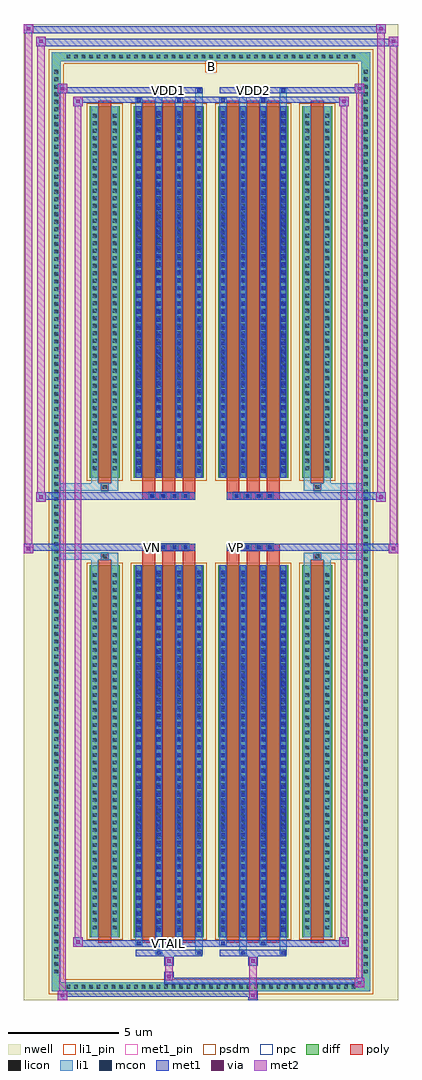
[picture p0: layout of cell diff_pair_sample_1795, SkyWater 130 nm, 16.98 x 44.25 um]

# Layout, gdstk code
import gdstk
lib = gdstk.Library(unit=1e-6, precision=5e-09)
def R(c, l, rs):  # rectangles x0, y0, x1, y1
    for r in rs: c.add(gdstk.rectangle(r[:2], r[2:], *l))
def A(c, l, x, y, w, h, nx, ny, dx, dy):  # array of equal rectangles
    R(c, l, [(x+i*dx, y+j*dy, x+i*dx+w, y+j*dy+h) for i in range(nx) for j in range(ny)])
def P(c, l, *ps):  # polygons
    for p in ps: c.add(gdstk.Polygon(p, *l))
nwell = (64, 20)
diff = (65, 20)
poly = (66, 20)
licon = (66, 44)
li1_pin = (67, 16)
li1 = (67, 20)
mcon = (67, 44)
met1_pin = (68, 16)
met1 = (68, 20)
via = (68, 44)
met2 = (69, 20)
psdm = (94, 20)
npc = (95, 20)

diff_pair_sample_1795 = lib.new_cell('diff_pair_sample_1795')
R(diff_pair_sample_1795, nwell, [(-8.49,-21.69,8.49,22.56), (-5.81,-19.88,-0.01,-0.8), (0.01,-19.88,5.81,-0.8), (-5.81,0.8,-0.01,19.88), (0.01,0.8,5.81,19.88)])
A(diff_pair_sample_1795, diff, -6.665, -21.29, 0.41, 0.41, 39, 2, 0.34, 42.17)
A(diff_pair_sample_1795, diff, -7.22, -20.605, 0.41, 0.41, 1, 121, 0, 0.34)
A(diff_pair_sample_1795, diff, 6.81, -20.605, 0.41, 0.41, 1, 121, 0, 0.34)
R(diff_pair_sample_1795, diff, [(-6.665,-21.29,6.665,-20.88), (-7.22,-20.605,-6.81,20.605), (6.81,-20.605,7.22,20.605), (-5.5,-18.835,-4.14,-1.985), (-3.5,-18.835,-0.32,-1.985), (0.32,-18.835,3.5,-1.985), (4.14,-18.835,5.5,-1.985), (-5.5,1.985,-4.14,18.835), (-3.5,1.985,-0.32,18.835), (0.32,1.985,3.5,18.835), (4.14,1.985,5.5,18.835), (-6.665,20.88,6.665,21.29)])
P(diff_pair_sample_1795, diff, [(7.22,21.29),(-7.22,21.29),(-7.22,-20.88),(-6.81,-20.88),(-6.81,20.88),(6.81,20.88),(6.81,-20.88),(-6.81,-20.88),(-7.22,-20.88),(-7.22,-21.29),(7.22,-21.29)])
A(diff_pair_sample_1795, poly, -3.11, -19.085, 0.58, 17.35, 3, 2, 0.91, 20.82)
A(diff_pair_sample_1795, poly, 0.71, -19.085, 0.58, 17.35, 3, 2, 0.91, 20.82)
A(diff_pair_sample_1795, poly, -3.11, -1.735, 0.58, 0.405, 3, 2, 0.91, 3.065)
A(diff_pair_sample_1795, poly, 0.71, -1.735, 0.58, 0.405, 3, 2, 0.91, 3.065)
A(diff_pair_sample_1795, poly, -2.825, -1.33, 0.33, 0.33, 4, 2, 0.5, 2.33)
A(diff_pair_sample_1795, poly, 0.995, -1.33, 0.33, 0.33, 4, 2, 0.5, 2.33)
R(diff_pair_sample_1795, poly, [(-5.11,-19.085,-4.53,-1.735), (4.53,-19.085,5.11,-1.735), (-4.985,-1.735,-4.655,-1.405), (-4.985,-1.735,-4.655,-1.405), (4.655,-1.735,4.985,-1.405), (4.655,-1.735,4.985,-1.405), (-3.11,-1.33,-0.71,-1), (0.71,-1.33,3.11,-1), (-3.11,1,-0.71,1.33), (0.71,1,3.11,1.33), (-4.985,1.405,-4.655,1.735), (-4.985,1.405,-4.655,1.735), (4.655,1.405,4.985,1.735), (4.655,1.405,4.985,1.735), (-5.11,1.735,-4.53,19.085), (4.53,1.735,5.11,19.085)])
A(diff_pair_sample_1795, licon, -6.545, -21.17, 0.17, 0.17, 39, 2, 0.34, 42.17)
A(diff_pair_sample_1795, licon, -7.1, -20.485, 0.17, 0.17, 1, 121, 0, 0.34)
A(diff_pair_sample_1795, licon, 6.93, -20.485, 0.17, 0.17, 1, 121, 0, 0.34)
A(diff_pair_sample_1795, licon, -5.36, -18.485, 0.17, 0.17, 1, 48, 0, 0.34)
A(diff_pair_sample_1795, licon, -4.45, -18.485, 0.17, 0.17, 1, 48, 0, 0.34)
A(diff_pair_sample_1795, licon, -3.36, -18.485, 0.17, 0.17, 4, 48, 0.91, 0.34)
A(diff_pair_sample_1795, licon, 0.46, -18.485, 0.17, 0.17, 4, 48, 0.91, 0.34)
A(diff_pair_sample_1795, licon, 4.28, -18.485, 0.17, 0.17, 1, 48, 0, 0.34)
A(diff_pair_sample_1795, licon, 5.19, -18.485, 0.17, 0.17, 1, 48, 0, 0.34)
A(diff_pair_sample_1795, licon, -2.745, -1.25, 0.17, 0.17, 4, 2, 0.5, 2.33)
A(diff_pair_sample_1795, licon, 1.075, -1.25, 0.17, 0.17, 4, 2, 0.5, 2.33)
A(diff_pair_sample_1795, licon, -5.36, 2.335, 0.17, 0.17, 1, 48, 0, 0.34)
A(diff_pair_sample_1795, licon, -4.45, 2.335, 0.17, 0.17, 1, 48, 0, 0.34)
A(diff_pair_sample_1795, licon, -3.36, 2.335, 0.17, 0.17, 4, 48, 0.91, 0.34)
A(diff_pair_sample_1795, licon, 0.46, 2.335, 0.17, 0.17, 4, 48, 0.91, 0.34)
A(diff_pair_sample_1795, licon, 4.28, 2.335, 0.17, 0.17, 1, 48, 0, 0.34)
A(diff_pair_sample_1795, licon, 5.19, 2.335, 0.17, 0.17, 1, 48, 0, 0.34)
R(diff_pair_sample_1795, licon, [(-4.905,-1.655,-4.735,-1.485), (4.735,-1.655,4.905,-1.485), (-4.905,1.485,-4.735,1.655), (4.735,1.485,4.905,1.655)])
R(diff_pair_sample_1795, li1_pin, [(-0.25,20.38,0.25,20.88)])
A(diff_pair_sample_1795, li1, -6.625, -21.25, 0.33, 0.33, 39, 2, 0.34, 42.17)
A(diff_pair_sample_1795, li1, -7.18, -20.565, 0.33, 0.33, 1, 121, 0, 0.34)
A(diff_pair_sample_1795, li1, 6.85, -20.565, 0.33, 0.33, 1, 121, 0, 0.34)
A(diff_pair_sample_1795, li1, -3.44, -18.835, 0.33, 16.85, 4, 2, 0.91, 20.82)
A(diff_pair_sample_1795, li1, 0.38, -18.835, 0.33, 16.85, 4, 2, 0.91, 20.82)
A(diff_pair_sample_1795, li1, -3.36, -18.595, 0.17, 0.17, 4, 46, 0.91, 0.36)
A(diff_pair_sample_1795, li1, -3.36, -18.595, 0.17, 16.37, 4, 2, 0.91, 20.82)
A(diff_pair_sample_1795, li1, 0.46, -18.595, 0.17, 0.17, 4, 46, 0.91, 0.36)
A(diff_pair_sample_1795, li1, 0.46, -18.595, 0.17, 16.37, 4, 2, 0.91, 20.82)
A(diff_pair_sample_1795, li1, -5.44, -18.565, 0.33, 0.33, 1, 48, 0, 0.34)
A(diff_pair_sample_1795, li1, -4.53, -18.565, 0.33, 0.33, 1, 48, 0, 0.34)
A(diff_pair_sample_1795, li1, -3.44, -18.565, 0.33, 0.33, 4, 48, 0.91, 0.34)
A(diff_pair_sample_1795, li1, 0.38, -18.565, 0.33, 0.33, 4, 48, 0.91, 0.34)
A(diff_pair_sample_1795, li1, 4.2, -18.565, 0.33, 0.33, 1, 48, 0, 0.34)
A(diff_pair_sample_1795, li1, 5.11, -18.565, 0.33, 0.33, 1, 48, 0, 0.34)
A(diff_pair_sample_1795, li1, -2.825, -1.33, 0.33, 0.33, 4, 2, 0.5, 2.33)
A(diff_pair_sample_1795, li1, 0.995, -1.33, 0.33, 0.33, 4, 2, 0.5, 2.33)
A(diff_pair_sample_1795, li1, -3.36, 2.225, 0.17, 0.17, 4, 46, 0.91, 0.36)
A(diff_pair_sample_1795, li1, 0.46, 2.225, 0.17, 0.17, 4, 46, 0.91, 0.36)
A(diff_pair_sample_1795, li1, -5.44, 2.255, 0.33, 0.33, 1, 48, 0, 0.34)
A(diff_pair_sample_1795, li1, -4.53, 2.255, 0.33, 0.33, 1, 48, 0, 0.34)
A(diff_pair_sample_1795, li1, -3.44, 2.255, 0.33, 0.33, 4, 48, 0.91, 0.34)
A(diff_pair_sample_1795, li1, 0.38, 2.255, 0.33, 0.33, 4, 48, 0.91, 0.34)
A(diff_pair_sample_1795, li1, 4.2, 2.255, 0.33, 0.33, 1, 48, 0, 0.34)
A(diff_pair_sample_1795, li1, 5.11, 2.255, 0.33, 0.33, 1, 48, 0, 0.34)
R(diff_pair_sample_1795, li1, [(-7.22,-21.29,-6.81,-20.88), (-7.22,-21.29,-6.81,-20.88), (-6.81,-21.29,6.81,-20.88), (6.81,-21.29,7.22,-20.88), (6.81,-21.29,7.22,-20.88), (-7.22,-20.88,-6.81,20.88), (6.81,-20.88,7.22,20.88), (-2.53,-19.64,-2.2,-18.835), (-2.45,-19.64,-2.28,-19.47), (-0.71,-19.64,-0.38,-18.835), (-0.63,-19.64,-0.46,-19.47), (1.29,-19.64,1.62,-18.835), (1.37,-19.64,1.54,-19.47), (3.11,-19.64,3.44,-18.835), (3.19,-19.64,3.36,-19.47), (-3.44,-19.21,-3.11,-18.835), (-3.36,-19.21,-3.19,-19.04), (-1.62,-19.21,-1.29,-18.835), (-1.54,-19.21,-1.37,-19.04), (0.38,-19.21,0.71,-18.835), (0.46,-19.21,0.63,-19.04), (2.2,-19.21,2.53,-18.835), (2.28,-19.21,2.45,-19.04), (-5.44,-18.835,-5.11,-1.985), (-4.53,-18.835,-4.2,-1.985), (4.2,-18.835,4.53,-1.985), (5.11,-18.835,5.44,-1.985), (-5.44,-1.985,-5.11,-1.405), (-4.53,-1.985,-4.2,-1.405), (4.2,-1.985,4.53,-1.405), (5.11,-1.985,5.44,-1.405), (-7.22,-1.735,-4.985,-1.405), (-5.44,-1.735,-4.985,-1.405), (-4.985,-1.735,-4.655,-1.405), (-4.655,-1.735,-4.2,-1.405), (4.2,-1.735,4.655,-1.405), (4.655,-1.735,4.985,-1.405), (4.655,-1.735,7.22,-1.405), (4.985,-1.735,5.44,-1.405), (-7.22,1.405,-4.985,1.735), (-5.44,1.405,-4.985,1.735), (-5.44,1.405,-5.11,1.985), (-4.985,1.405,-4.655,1.735), (-4.655,1.405,-4.2,1.735), (-4.53,1.405,-4.2,1.985), (4.2,1.405,4.655,1.735), (4.2,1.405,4.53,1.985), (4.655,1.405,4.985,1.735), (4.655,1.405,7.22,1.735), (4.985,1.405,5.44,1.735), (5.11,1.405,5.44,1.985), (-5.44,1.985,-5.11,18.835), (-4.53,1.985,-4.2,18.835), (4.2,1.985,4.53,18.835), (5.11,1.985,5.44,18.835), (-3.44,18.835,-3.11,19.21), (-2.53,18.835,-2.2,19.64), (-1.62,18.835,-1.29,19.21), (-0.71,18.835,-0.38,19.64), (0.38,18.835,0.71,19.21), (1.29,18.835,1.62,19.64), (2.2,18.835,2.53,19.21), (3.11,18.835,3.44,19.64), (-3.36,19.04,-3.19,19.21), (-1.54,19.04,-1.37,19.21), (0.46,19.04,0.63,19.21), (2.28,19.04,2.45,19.21), (-2.45,19.47,-2.28,19.64), (-0.63,19.47,-0.46,19.64), (1.37,19.47,1.54,19.64), (3.19,19.47,3.36,19.64), (-7.22,20.88,-6.81,21.29), (-7.22,20.88,-6.81,21.29), (-6.81,20.88,6.81,21.29), (6.81,20.88,7.22,21.29), (6.81,20.88,7.22,21.29)])
A(diff_pair_sample_1795, mcon, -3.36, -18.595, 0.17, 0.17, 4, 46, 0.91, 0.36)
A(diff_pair_sample_1795, mcon, 0.46, -18.595, 0.17, 0.17, 4, 46, 0.91, 0.36)
A(diff_pair_sample_1795, mcon, -2.745, -1.25, 0.17, 0.17, 4, 2, 0.5, 2.33)
A(diff_pair_sample_1795, mcon, 1.075, -1.25, 0.17, 0.17, 4, 2, 0.5, 2.33)
A(diff_pair_sample_1795, mcon, -3.36, 2.225, 0.17, 0.17, 4, 46, 0.91, 0.36)
A(diff_pair_sample_1795, mcon, 0.46, 2.225, 0.17, 0.17, 4, 46, 0.91, 0.36)
R(diff_pair_sample_1795, mcon, [(-2.45,-19.64,-2.28,-19.47), (-0.63,-19.64,-0.46,-19.47), (1.37,-19.64,1.54,-19.47), (3.19,-19.64,3.36,-19.47), (-3.36,-19.21,-3.19,-19.04), (-1.54,-19.21,-1.37,-19.04), (0.46,-19.21,0.63,-19.04), (2.28,-19.21,2.45,-19.04), (-3.36,19.04,-3.19,19.21), (-1.54,19.04,-1.37,19.21), (0.46,19.04,0.63,19.21), (2.28,19.04,2.45,19.21), (-2.45,19.47,-2.28,19.64), (-0.63,19.47,-0.46,19.64), (1.37,19.47,1.54,19.64), (3.19,19.47,3.36,19.64)])
R(diff_pair_sample_1795, met1_pin, [(-2.045,-19.25,-1.775,-18.98), (-2.795,-1.29,-2.525,-1.02), (1.025,-1.29,1.295,-1.02), (-2.045,19.43,-1.775,19.7), (1.775,19.43,2.045,19.7)])
A(diff_pair_sample_1795, met1, -3.42, -18.835, 0.29, 16.85, 4, 2, 0.91, 20.82)
A(diff_pair_sample_1795, met1, 0.4, -18.835, 0.29, 16.85, 4, 2, 0.91, 20.82)
A(diff_pair_sample_1795, met1, -3.42, -18.655, 0.29, 0.29, 4, 46, 0.91, 0.36)
A(diff_pair_sample_1795, met1, 0.4, -18.655, 0.29, 0.29, 4, 46, 0.91, 0.36)
A(diff_pair_sample_1795, met1, -2.805, -1.31, 0.29, 0.29, 4, 2, 0.5, 2.33)
A(diff_pair_sample_1795, met1, 1.015, -1.31, 0.29, 0.29, 4, 2, 0.5, 2.33)
A(diff_pair_sample_1795, met1, -3.42, 2.165, 0.29, 0.29, 4, 46, 0.91, 0.36)
A(diff_pair_sample_1795, met1, 0.4, 2.165, 0.29, 0.29, 4, 46, 0.91, 0.36)
R(diff_pair_sample_1795, met1, [(-6.95,-21.69,-6.52,-21.26), (1.695,-21.69,2.125,-21.26), (-6.95,-21.55,2.125,-21.26), (6.52,-21.12,6.95,-20.69), (-2.125,-20.98,6.95,-20.69), (-2.125,-20.84,-1.695,-20.41), (-2.125,-20.13,-1.695,-19.7), (1.695,-20.13,2.125,-19.7), (-3.42,-19.7,-0.4,-19.41), (-2.51,-19.7,-2.22,-19.41), (-0.69,-19.7,-0.4,-19.41), (0.4,-19.7,3.42,-19.41), (1.31,-19.7,1.6,-19.41), (3.13,-19.7,3.42,-19.41), (-6.24,-19.27,-5.81,-18.84), (-6.24,-19.27,-3.42,-18.98), (-3.42,-19.27,-3.13,-18.98), (-3.42,-19.27,-0.4,-18.98), (-1.6,-19.27,-1.31,-18.98), (-0.4,-19.27,0.4,-18.98), (0.4,-19.27,0.69,-18.98), (0.4,-19.27,3.42,-18.98), (2.22,-19.27,2.51,-18.98), (3.42,-19.27,6.24,-18.98), (5.81,-19.27,6.24,-18.84), (-8.49,-1.43,-8.06,-1), (8.06,-1.43,8.49,-1), (-8.49,-1.33,-0.71,-1), (-3.11,-1.33,-0.71,-1), (0.71,-1.33,3.11,-1), (0.71,-1.33,8.49,-1), (-7.92,0.9,-7.49,1.33), (7.49,0.9,7.92,1.33), (-7.92,1,-3.11,1.33), (-3.11,1,-0.71,1.33), (0.71,1,3.11,1.33), (3.11,1,7.92,1.33), (-6.24,18.84,-5.81,19.27), (5.81,18.84,6.24,19.27), (-6.24,18.98,-3.42,19.27), (-3.42,18.98,-3.13,19.27), (-3.42,18.98,-0.4,19.27), (-1.6,18.98,-1.31,19.27), (-0.4,18.98,0.4,19.27), (0.4,18.98,0.69,19.27), (0.4,18.98,3.42,19.27), (2.22,18.98,2.51,19.27), (3.42,18.98,6.24,19.27), (-6.95,19.41,-6.52,19.84), (-6.95,19.41,-3.42,19.7), (-3.42,19.41,-0.4,19.7), (-2.51,19.41,-2.22,19.7), (-0.69,19.41,-0.4,19.7), (0.4,19.41,3.42,19.7), (1.31,19.41,1.6,19.7), (3.13,19.41,3.42,19.7), (3.42,19.41,6.95,19.7), (6.52,19.41,6.95,19.84), (-7.92,21.56,-7.49,21.99), (-7.92,21.56,-5.81,21.89), (-5.81,21.56,5.81,21.89), (5.81,21.56,8.49,21.89), (8.06,21.56,8.49,21.99), (-8.49,22.13,-8.06,22.56), (-8.49,22.13,-5.81,22.46), (-5.81,22.13,5.81,22.46), (5.81,22.13,7.92,22.46), (7.49,22.13,7.92,22.56)])
R(diff_pair_sample_1795, via, [(-6.81,-21.55,-6.66,-21.4), (1.835,-21.55,1.985,-21.4), (6.66,-20.98,6.81,-20.83), (-1.985,-20.7,-1.835,-20.55), (-1.985,-19.99,-1.835,-19.84), (1.835,-19.99,1.985,-19.84), (-6.1,-19.13,-5.95,-18.98), (5.95,-19.13,6.1,-18.98), (-8.35,-1.29,-8.2,-1.14), (8.2,-1.29,8.35,-1.14), (-7.78,1.04,-7.63,1.19), (7.63,1.04,7.78,1.19), (-6.1,18.98,-5.95,19.13), (5.95,18.98,6.1,19.13), (-6.81,19.55,-6.66,19.7), (6.66,19.55,6.81,19.7), (-7.78,21.7,-7.63,21.85), (8.2,21.7,8.35,21.85), (-8.35,22.27,-8.2,22.42), (7.63,22.27,7.78,22.42)])
R(diff_pair_sample_1795, met2, [(-6.95,-21.69,-6.52,-21.26), (-6.88,-21.69,-6.59,19.84), (-6.59,-21.69,-6.52,-21.26), (-6.9,-21.64,-6.57,-21.31), (1.745,-21.64,2.075,-21.31), (1.745,-21.31,2.075,-20.08), (6.52,-21.12,6.95,-20.69), (6.59,-21.12,6.88,19.84), (6.88,-21.12,6.95,-20.69), (6.57,-21.07,6.9,-20.74), (-2.075,-20.79,-1.745,-20.46), (-2.075,-20.46,-1.745,-20.08), (-2.075,-20.08,-1.745,-19.75), (1.745,-20.08,2.075,-19.75), (-6.24,-19.27,-5.81,-18.84), (-6.17,-19.27,-5.88,19.27), (-5.88,-19.27,-5.81,-18.84), (5.81,-19.27,6.24,-18.84), (5.88,-19.27,6.17,19.27), (6.17,-19.27,6.24,-18.84), (-6.19,-19.22,-5.86,-18.89), (5.86,-19.22,6.19,-18.89), (-8.49,-1.43,-8.06,-1), (-8.44,-1.43,-8.11,22.56), (-8.11,-1.43,-8.06,-1), (8.06,-1.43,8.49,-1), (8.11,-1.43,8.44,21.99), (8.44,-1.43,8.49,-1), (-8.44,-1.38,-8.11,-1.05), (8.11,-1.38,8.44,-1.05), (-7.92,0.9,-7.49,1.33), (-7.87,0.9,-7.54,21.99), (-7.54,0.9,-7.49,1.33), (7.49,0.9,7.92,1.33), (7.54,0.9,7.87,22.56), (7.87,0.9,7.92,1.33), (-7.87,0.95,-7.54,1.28), (7.54,0.95,7.87,1.28), (-6.24,18.84,-5.81,19.27), (-5.88,18.84,-5.81,19.27), (5.81,18.84,6.24,19.27), (6.17,18.84,6.24,19.27), (-6.19,18.89,-5.86,19.22), (5.86,18.89,6.19,19.22), (-6.95,19.41,-6.52,19.84), (-6.59,19.41,-6.52,19.84), (6.52,19.41,6.95,19.84), (6.88,19.41,6.95,19.84), (-6.9,19.46,-6.57,19.79), (6.57,19.46,6.9,19.79), (-7.92,21.56,-7.49,21.99), (-7.54,21.56,-7.49,21.99), (8.06,21.56,8.49,21.99), (8.44,21.56,8.49,21.99), (-7.87,21.61,-7.54,21.94), (8.11,21.61,8.44,21.94), (-8.49,22.13,-8.06,22.56), (-8.11,22.13,-8.06,22.56), (7.49,22.13,7.92,22.56), (7.87,22.13,7.92,22.56), (-8.44,22.18,-8.11,22.51), (7.54,22.18,7.87,22.51)])
R(diff_pair_sample_1795, psdm, [(-5.63,-18.965,-4.01,-1.855), (-3.63,-18.965,-0.19,-1.855), (0.19,-18.965,3.63,-1.855), (4.01,-18.965,5.63,-1.855), (-5.63,1.855,-4.01,18.965), (-3.63,1.855,-0.19,18.965), (0.19,1.855,3.63,18.965), (4.01,1.855,5.63,18.965)])
P(diff_pair_sample_1795, psdm, [(7.35,21.42),(-7.35,21.42),(-7.35,-20.75),(-6.68,-20.75),(-6.68,20.75),(6.68,20.75),(6.68,-20.75),(-6.68,-20.75),(-7.35,-20.75),(-7.35,-21.42),(7.35,-21.42)])
A(diff_pair_sample_1795, npc, -2.845, -1.35, 0.37, 0.37, 4, 2, 0.5, 2.33)
A(diff_pair_sample_1795, npc, 0.975, -1.35, 0.37, 0.37, 4, 2, 0.5, 2.33)
R(diff_pair_sample_1795, npc, [(-5.005,-1.755,-4.635,-1.385), (4.635,-1.755,5.005,-1.385), (-2.845,-1.35,-1.975,-0.98), (-2.845,-1.35,-1.975,-0.98), (-2.345,-1.35,-1.475,-0.98), (-2.345,-1.35,-1.475,-0.98), (-1.845,-1.35,-0.975,-0.98), (-1.845,-1.35,-0.975,-0.98), (0.975,-1.35,1.845,-0.98), (0.975,-1.35,1.845,-0.98), (1.475,-1.35,2.345,-0.98), (1.475,-1.35,2.345,-0.98), (1.975,-1.35,2.845,-0.98), (1.975,-1.35,2.845,-0.98), (-2.845,0.98,-1.975,1.35), (-2.845,0.98,-1.975,1.35), (-2.345,0.98,-1.475,1.35), (-2.345,0.98,-1.475,1.35), (-1.845,0.98,-0.975,1.35), (-1.845,0.98,-0.975,1.35), (0.975,0.98,1.845,1.35), (0.975,0.98,1.845,1.35), (1.475,0.98,2.345,1.35), (1.475,0.98,2.345,1.35), (1.975,0.98,2.845,1.35), (1.975,0.98,2.845,1.35), (-5.005,1.385,-4.635,1.755), (4.635,1.385,5.005,1.755)])
diff_pair_sample_1795.add(gdstk.Label('VTAIL', (-1.91,-19.115), layer=68, texttype=5))
diff_pair_sample_1795.add(gdstk.Label('VN', (-2.66,-1.155), layer=68, texttype=5))
diff_pair_sample_1795.add(gdstk.Label('VP', (1.16,-1.155), layer=68, texttype=5))
diff_pair_sample_1795.add(gdstk.Label('B', (0,20.63), layer=67, texttype=5))
diff_pair_sample_1795.add(gdstk.Label('VDD2', (1.91,19.565), layer=68, texttype=5))
diff_pair_sample_1795.add(gdstk.Label('VDD1', (-1.91,19.565), layer=68, texttype=5))

lib.write_gds('diff_pair_sample_1795.gds')
